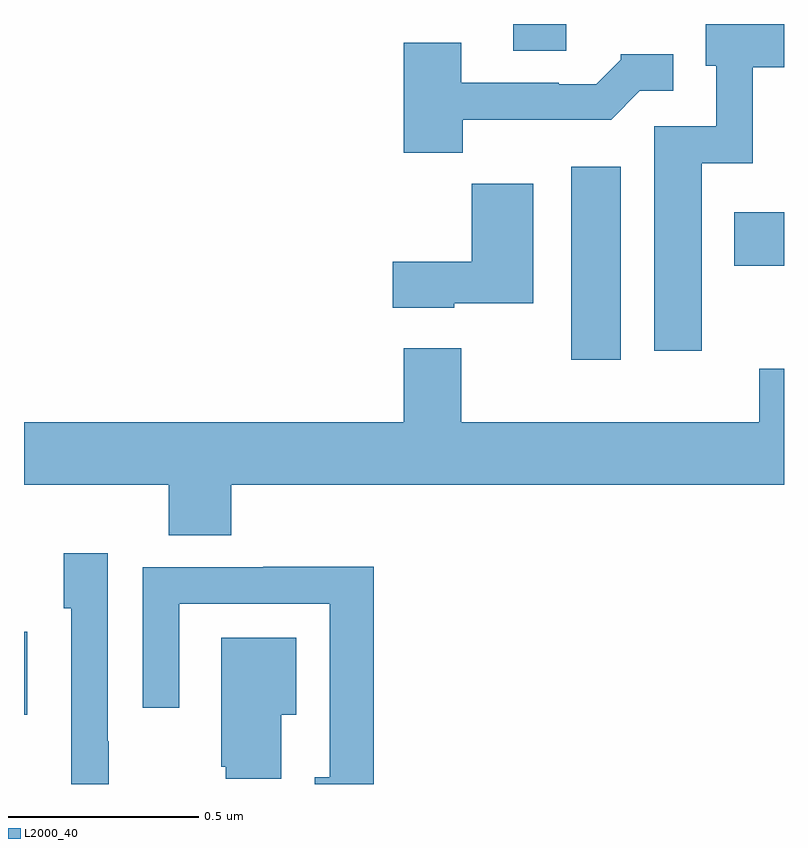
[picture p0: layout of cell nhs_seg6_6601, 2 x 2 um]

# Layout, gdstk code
import gdstk
lib = gdstk.Library(unit=1e-6, precision=1e-09)
def R(c, l, rs):  # rectangles x0, y0, x1, y1
    for r in rs: c.add(gdstk.rectangle(r[:2], r[2:], *l))
def P(c, l, *ps):  # polygons
    for p in ps: c.add(gdstk.Polygon(p, *l))
L2000_40 = (2000, 40)

nhs_seg6_6601 = lib.new_cell('nhs_seg6_6601')
R(nhs_seg6_6601, L2000_40, [(197,994.682,197.008,994.901), (198.44,995.616,198.571,996.124), (198.869,995.864,199,996.004), (198.287,996.43,198.427,996.5)])
P(nhs_seg6_6601, L2000_40, [(198.784,996.134),(198.918,996.134),(198.918,996.386),(199,996.386),(199,996.5),(198.794,996.5),(198.794,996.39),(198.822,996.39),(198.822,996.231),(198.659,996.231),(198.659,995.64),(198.784,995.64)],
  [(198.154,996.248),(198.545,996.248),(198.621,996.324),(198.709,996.324),(198.709,996.421),(198.57,996.421),(198.57,996.406),(198.506,996.342),(198.407,996.342),(198.407,996.345),(198.151,996.345),(198.151,996.451),(197.999,996.451),(197.999,996.161),(198.154,996.161)],
  [(198.132,995.765),(198.34,995.765),(198.34,996.079),(198.178,996.079),(198.178,995.875),(197.97,995.875),(197.97,995.753),(198.132,995.753)],
  [(197.546,995.288),(199,995.288),(199,995.593),(198.935,995.593),(198.935,995.452),(198.151,995.452),(198.151,995.647),(197.999,995.647),(197.999,995.452),(197,995.452),(197,995.288),(197.381,995.288),(197.381,995.155),(197.546,995.155)],
  [(197.223,994.613),(197.22,994.613),(197.22,995.107),(197.105,995.107),(197.105,994.962),(197.124,994.962),(197.124,994.5),(197.223,994.5)],
  [(197.921,995.072),(197.629,995.072),(197.629,995.07),(197.313,995.07),(197.313,994.701),(197.409,994.701),(197.409,994.974),(197.805,994.974),(197.805,994.518),(197.765,994.518),(197.765,994.5),(197.921,994.5)],
  [(197.677,994.682),(197.716,994.682),(197.716,994.885),(197.519,994.885),(197.519,994.545),(197.531,994.545),(197.531,994.514),(197.677,994.514)])

lib.write_gds('nhs_seg6_6601.gds')
